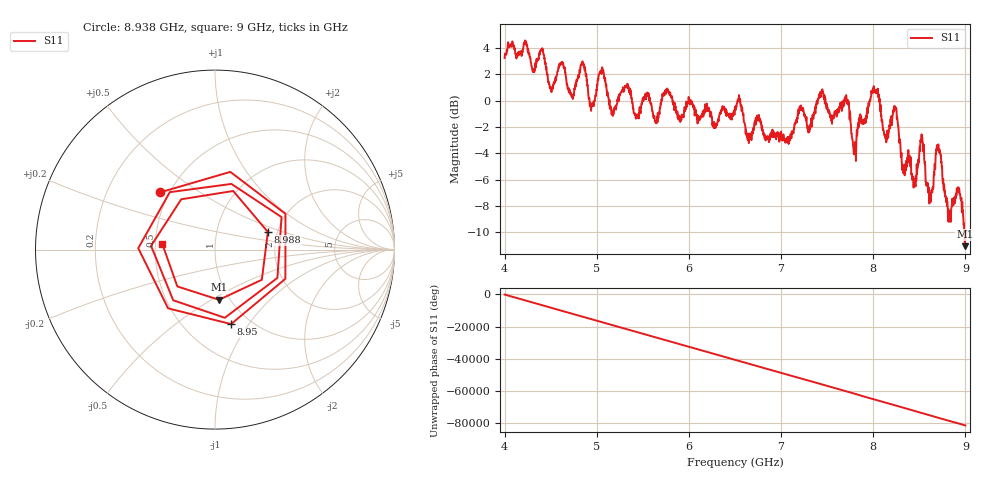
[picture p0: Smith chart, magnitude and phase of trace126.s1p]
! Created with skrf 1.8.0 (http://scikit-rf.org).
# Hz S RI R 50.0
!freq ReS11 ImS11
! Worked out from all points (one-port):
!   1601 points, 4 GHz to 9 GHz, reference 50 ohm
!   lowest |S11| = -11.0 dB at 8.994 GHz (marker M1), VSWR 1.78, Z = 44.6 - j27 ohm
!   |S11| at or under -10 dB: 8.987245 GHz to end of sweep
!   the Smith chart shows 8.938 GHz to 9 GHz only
!   S11 on the Smith chart (normalised r, x): 8.938 GHz: 0.45, +0.35; 8.95 GHz: 0.82, -0.83; 8.988 GHz: 1.78, +0.39; 9 GHz: 0.55, +0.04
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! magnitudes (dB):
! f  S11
! 4 GHz  3.2
! 4.403 GHz  4.0
! 4.506 GHz  0.7
! 4.625 GHz  3.0
! 4.725 GHz  0.3
! 4.847 GHz  3.0
! 4.941 GHz  -0.6
! 5.05 GHz  2.0
! 5.166 GHz  -0.8
! 5.25 GHz  0.4
! 5.875 GHz  -0.8
! 6.5 GHz  -0.5
! 7.125 GHz  -2.5
! 7.434 GHz  0.5
! 7.75 GHz  -1.0
! 7.794 GHz  -3.8
! 8.025 GHz  0.6
! 8.375 GHz  -4.6
! 8.444 GHz  -5.9
! 8.525 GHz  -2.6
! 8.622 GHz  -7.2
! 8.709 GHz  -3.7
! 8.822 GHz  -9.2
! 8.938 GHz  -7.1
! 8.95 GHz  -7.4
! 8.988 GHz  -10.2
! 8.994 GHz  -11.0
! 9 GHz  -10.6
